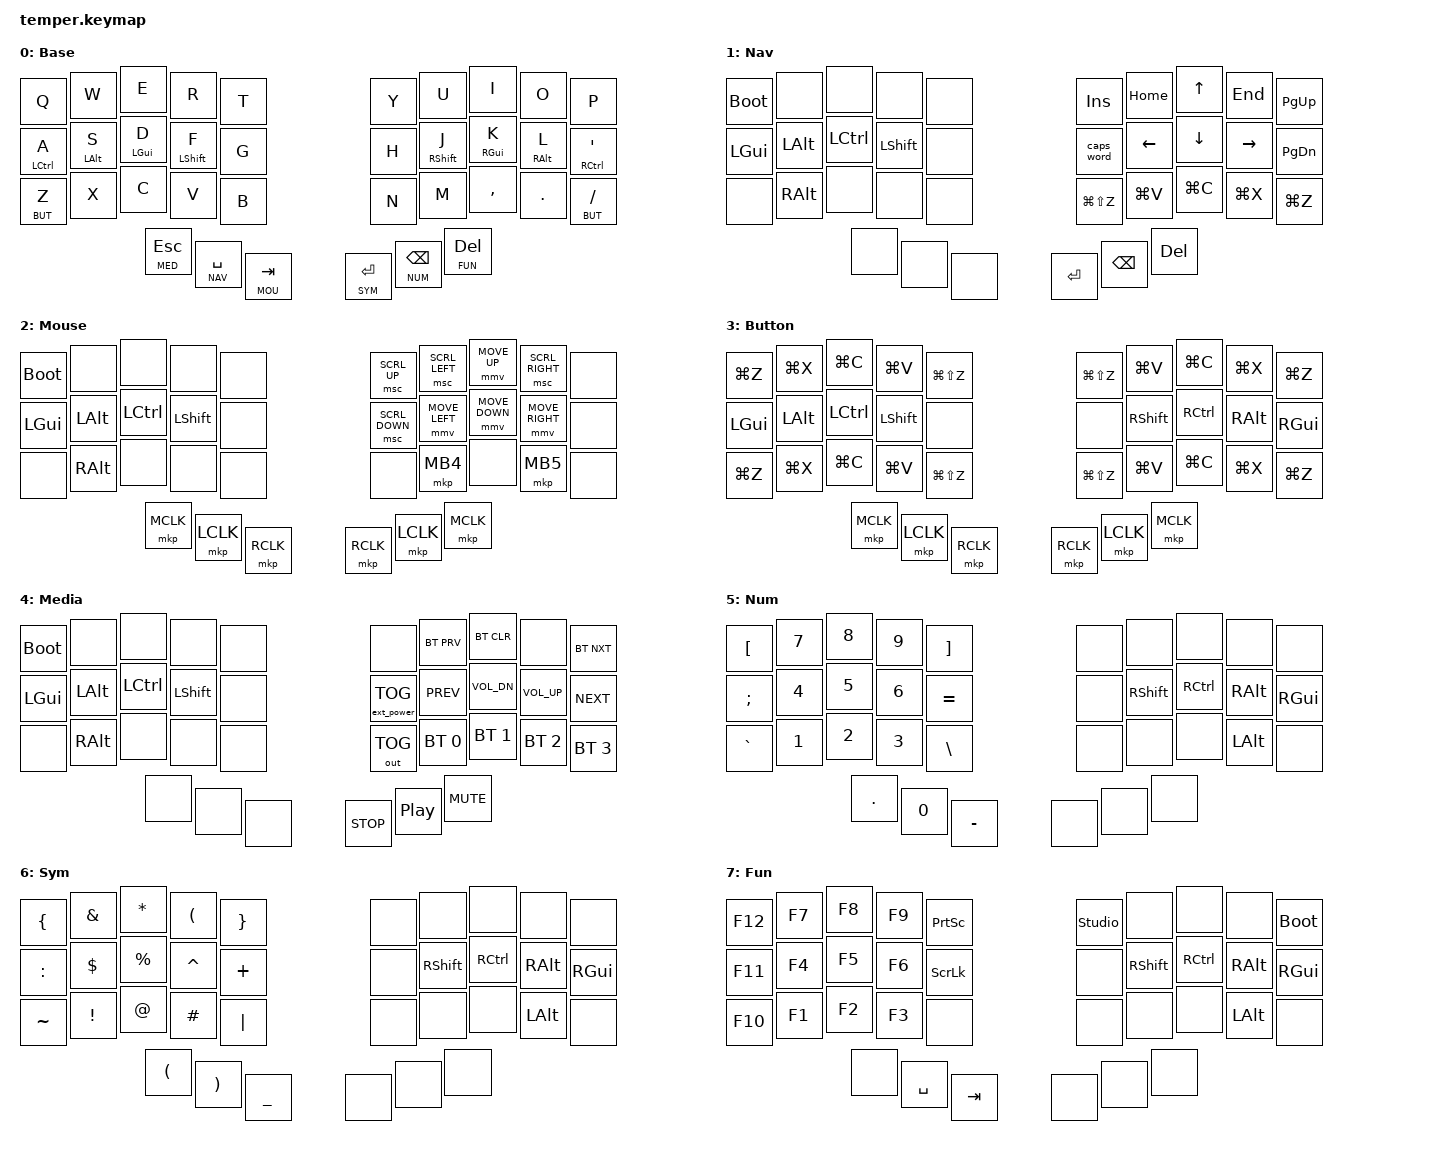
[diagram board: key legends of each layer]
/*
 * Copyright (c) 2020 The ZMK Contributors
 *
 * SPDX-License-Identifier: MIT
 */


#include <behaviors.dtsi>
#include <dt-bindings/zmk/keys.h>
#include <dt-bindings/zmk/bt.h>
#include <dt-bindings/zmk/ext_power.h>
#include <dt-bindings/zmk/outputs.h>
#include <dt-bindings/zmk/pointing.h>

#include "zmk-helpers/helper.h"
#include "zmk-helpers/key-labels/36.h"

#define QUICK_TAP_MS 175

#define BAS 0
#define NAV 1
#define MOU 2
#define BUT 3
#define MED 4
#define NUM 5
#define SYM 6
#define FUN 7

#define Z_BUT   &lt BUT Z
#define SLS_BUT &lt BUT SLASH

#define ESC_MED &lt MED ESC
#define SPA_NAV &lt NAV SPACE
#define TAB_MOU &lt MOU TAB
#define RET_SYM &lt SYM RET
#define BSC_NUM &lt NUM BSPC
#define DEL_FUN &lt FUN DEL

#define _COPY  &kp LG(C)
#define _PASTE &kp LG(V)
#define _CUT   &kp LG(X)
#define _UNDO  &kp LG(Z)
#define _REDO  &kp LG(LS(Z))

#define KEYS_L LT0 LT1 LT2 LT3 LT4 LM0 LM1 LM2 LM3 LM4 LB0 LB1 LB2 LB3 LB4
#define KEYS_R RT0 RT1 RT2 RT3 RT4 RM0 RM1 RM2 RM3 RM4 RB0 RB1 RB2 RB3 RB4
#undef THUMBS
#define THUMBS LH2 LH1 LH0 RH0 RH1 RH2


#define HRM_A &hml LEFT_CONTROL A
#define HRM_S &hml LEFT_ALT S
#define HRM_D &hml LEFT_GUI D
#define HRM_F &hml LEFT_SHIFT F

#define HRM_J &hmr RIGHT_SHIFT J
#define HRM_K &hmr RIGHT_GUI K
#define HRM_L &hmr RIGHT_ALT L
#define HRM_SQT &hmr RIGHT_CONTROL SQT

&lt {
  flavor = "balanced";
  tapping-term-ms = <200>;
  quick-tap-ms = <QUICK_TAP_MS>;
};

/ {
        behaviors {
                hml: home_row_mod_left {
                        compatible = "zmk,behavior-hold-tap";
                        #binding-cells = <2>;
                        flavor = "balanced";
                        require-prior-idle-ms = <150>;
                        tapping-term-ms = <280>;
                        quick-tap-ms = <175>;
                        bindings = <&kp>, <&kp>;
                        hold-trigger-key-positions = <KEYS_R THUMBS>; // List of keys on the right side of the keyboard
                        hold-trigger-on-release;
                };
                hmr: home_row_mod_right {
                        compatible = "zmk,behavior-hold-tap";
                        #binding-cells = <2>;
                        flavor = "balanced";
                        require-prior-idle-ms = <150>;
                        tapping-term-ms = <280>;
                        quick-tap-ms = <175>;
                        bindings = <&kp>, <&kp>;
                        hold-trigger-key-positions = <KEYS_L THUMBS>; // List of keys on the left side of the keyboard
                        hold-trigger-on-release;
                };
        };
        keymap {
                compatible = "zmk,keymap";

                base_layer {
                        display-name = "Base";
                        bindings = <
// ╭─────────────┬─────────────┬─────────────┬─────────────┬─────────────╮   ╭─────────────┬─────────────┬─────────────┬─────────────┬─────────────╮
        &kp Q         &kp W         &kp E         &kp R         &kp T             &kp Y         &kp U         &kp I         &kp O       &kp P   
// ├─────────────┼─────────────┼─────────────┼─────────────┼─────────────┤   ├─────────────┼─────────────┼─────────────┼─────────────┼─────────────┤
        HRM_A         HRM_S         HRM_D         HRM_F         &kp G             &kp H         HRM_J         HRM_K         HRM_L       HRM_SQT
// ├─────────────┼─────────────┼─────────────┼─────────────┼─────────────┤   ├─────────────┼─────────────┼─────────────┼─────────────┼─────────────┤
        Z_BUT         &kp X         &kp C         &kp V         &kp B             &kp N         &kp M       &kp COMMA    &kp PERIOD     SLS_BUT
// ╰─────────────┴─────────────┼─────────────┼─────────────┼─────────────┤   ├─────────────┼─────────────┼─────────────┼─────────────┴─────────────╯
                                   ESC_MED       SPA_NAV       TAB_MOU            RET_SYM      BSC_NUM       DEL_FUN
//                             ╰─────────────┴─────────────┴─────────────╯   ╰─────────────┴─────────────┴─────────────╯
                        >;
                };
                nav_layer {
                        display-name = "Nav";
                        bindings = <
// ╭─────────────┬─────────────┬─────────────┬─────────────┬─────────────╮   ╭─────────────┬─────────────┬─────────────┬─────────────┬─────────────╮
     &bootloader      &none         &none         &none         &none             &kp INS      &kp HOME       &kp UP       &kp END      &kp PG_UP   
// ├─────────────┼─────────────┼─────────────┼─────────────┼─────────────┤   ├─────────────┼─────────────┼─────────────┼─────────────┼─────────────┤
        &kp LGUI     &kp LALT     &kp LCTRL     &kp LSHFT       &none           &caps_word     &kp LEFT      &kp DOWN     &kp RIGHT     &kp PG_DN 
// ├─────────────┼─────────────┼─────────────┼─────────────┼─────────────┤   ├─────────────┼─────────────┼─────────────┼─────────────┼─────────────┤
        &none        &kp RALT       &none         &none         &none             _REDO        _PASTE         _COPY         _CUT          _UNDO 
// ╰─────────────┴─────────────┼─────────────┼─────────────┼─────────────┤   ├─────────────┼─────────────┼─────────────┼─────────────┴─────────────╯
                                    &none         &none         &none             &kp RET     &kp BSPC       &kp DEL 
//                             ╰─────────────┴─────────────┴─────────────╯   ╰─────────────┴─────────────┴─────────────╯
                        >;
                };
                mouse_layer {
                        display-name = "Mouse";
                        bindings = <
// ╭─────────────┬─────────────┬─────────────┬─────────────┬─────────────╮   ╭─────────────┬─────────────┬─────────────┬─────────────┬─────────────╮
     &bootloader      &none         &none         &none         &none          &msc SCRL_UP &msc SCRL_LEFT &mmv MOVE_UP &msc SCRL_RIGHT   &none 
// ├─────────────┼─────────────┼─────────────┼─────────────┼─────────────┤   ├─────────────┼─────────────┼─────────────┼─────────────┼─────────────┤
        &kp LGUI     &kp LALT     &kp LCTRL     &kp LSHFT       &none        &msc SCRL_DOWN &mmv MOVE_LEFT &mmv MOVE_DOWN &mmv MOVE_RIGHT &none 
// ├─────────────┼─────────────┼─────────────┼─────────────┼─────────────┤   ├─────────────┼─────────────┼─────────────┼─────────────┼─────────────┤
        &none        &kp RALT       &none         &none         &none             &none       &mkp MB4        &none       &mkp MB5         &none
// ╰─────────────┴─────────────┼─────────────┼─────────────┼─────────────┤   ├─────────────┼─────────────┼─────────────┼─────────────┴─────────────╯
                                  &mkp MCLK     &mkp LCLK     &mkp RCLK         &mkp RCLK     &mkp LCLK     &mkp MCLK
//                             ╰─────────────┴─────────────┴─────────────╯   ╰─────────────┴─────────────┴─────────────╯
                        >;
                };
                button_layer {
                        display-name = "Button";
                        bindings = <
// ╭─────────────┬─────────────┬─────────────┬─────────────┬─────────────╮   ╭─────────────┬─────────────┬─────────────┬─────────────┬─────────────╮
        _UNDO         _CUT          _COPY        _PASTE         _REDO             _REDO        _PASTE         _COPY          _CUT         _UNDO
// ├─────────────┼─────────────┼─────────────┼─────────────┼─────────────┤   ├─────────────┼─────────────┼─────────────┼─────────────┼─────────────┤
        &kp LGUI     &kp LALT     &kp LCTRL     &kp LSHFT       &none             &none       &kp RSHFT     &kp RCTRL      &kp RALT      &kp RGUI 
// ├─────────────┼─────────────┼─────────────┼─────────────┼─────────────┤   ├─────────────┼─────────────┼─────────────┼─────────────┼─────────────┤
        _UNDO         _CUT          _COPY        _PASTE         _REDO             _REDO        _PASTE         _COPY          _CUT         _UNDO 
// ╰─────────────┴─────────────┼─────────────┼─────────────┼─────────────┤   ├─────────────┼─────────────┼─────────────┼─────────────┴─────────────╯
                                  &mkp MCLK     &mkp LCLK     &mkp RCLK         &mkp RCLK     &mkp LCLK     &mkp MCLK
//                             ╰─────────────┴─────────────┴─────────────╯   ╰─────────────┴─────────────┴─────────────╯
                        >;
                };
                media_layer {
                        display-name = "Media";
                        bindings = <
// ╭─────────────┬─────────────┬─────────────┬─────────────┬─────────────╮   ╭─────────────┬─────────────┬─────────────┬─────────────┬─────────────╮
     &bootloader      &none         &none         &none         &none             &none       &bt BT_PRV    &bt BT_CLR      &none       &bt BT_NXT
// ├─────────────┼─────────────┼─────────────┼─────────────┼─────────────┤   ├─────────────┼─────────────┼─────────────┼─────────────┼─────────────┤
        &kp LGUI     &kp LALT     &kp LCTRL     &kp LSHFT       &none      &ext_power EP_TOG  &kp C_PREV    &kp C_VOL_DN  &kp C_VOL_UP  &kp C_NEXT
// ├─────────────┼─────────────┼─────────────┼─────────────┼─────────────┤   ├─────────────┼─────────────┼─────────────┼─────────────┼─────────────┤
        &none        &kp RALT       &none         &none         &none         &out OUT_TOG   &bt BT_SEL 0  &bt BT_SEL 1  &bt BT_SEL 2  &bt BT_SEL 3
// ╰─────────────┴─────────────┼─────────────┼─────────────┼─────────────┤   ├─────────────┼─────────────┼─────────────┼─────────────┴─────────────╯
                                    &none         &none         &none           &kp C_STOP     &kp C_PP     &kp C_MUTE
//                             ╰─────────────┴─────────────┴─────────────╯   ╰─────────────┴─────────────┴─────────────╯
                        >;
                };
                num_layer {
                        display-name = "Num";
                        bindings = <
// ╭─────────────┬─────────────┬─────────────┬─────────────┬─────────────╮   ╭─────────────┬─────────────┬─────────────┬─────────────┬─────────────╮
       &kp LBKT       &kp N7       &kp N8        &kp N9       &kp RBKT            &none         &none         &none         &none         &none   
// ├─────────────┼─────────────┼─────────────┼─────────────┼─────────────┤   ├─────────────┼─────────────┼─────────────┼─────────────┼─────────────┤
       &kp SEMI       &kp N4       &kp N5        &kp N6       &kp EQUAL           &none       &kp RSHFT     &kp RCTRL      &kp RALT      &kp RGUI 
// ├─────────────┼─────────────┼─────────────┼─────────────┼─────────────┤   ├─────────────┼─────────────┼─────────────┼─────────────┼─────────────┤
      &kp GRAVE       &kp N1       &kp N2        &kp N3       &kp BSLH            &none         &none         &none        &kp LALT       &none 
// ╰─────────────┴─────────────┼─────────────┼─────────────┼─────────────┤   ├─────────────┼─────────────┼─────────────┼─────────────┴─────────────╯
                                   &kp DOT       &kp N0       &kp MINUS           &none         &none         &none 
//                             ╰─────────────┴─────────────┴─────────────╯   ╰─────────────┴─────────────┴─────────────╯
                        >;
                };
                sym_layer {
                        display-name = "Sym";
                        bindings = <
// ╭─────────────┬─────────────┬─────────────┬─────────────┬─────────────╮   ╭─────────────┬─────────────┬─────────────┬─────────────┬─────────────╮
        &kp LBRC     &kp AMPS     &kp STAR      &kp LPAR      &kp RBRC            &none         &none         &none         &none         &none   
// ├─────────────┼─────────────┼─────────────┼─────────────┼─────────────┤   ├─────────────┼─────────────┼─────────────┼─────────────┼─────────────┤
        &kp COLON    &kp DLLR     &kp PRCNT     &kp CARET     &kp PLUS            &none       &kp RSHFT     &kp RCTRL      &kp RALT      &kp RGUI 
// ├─────────────┼─────────────┼─────────────┼─────────────┼─────────────┤   ├─────────────┼─────────────┼─────────────┼─────────────┼─────────────┤
        &kp TILDE    &kp EXCL     &kp AT        &kp POUND     &kp PIPE            &none         &none         &none        &kp LALT       &none 
// ╰─────────────┴─────────────┼─────────────┼─────────────┼─────────────┤   ├─────────────┼─────────────┼─────────────┼─────────────┴─────────────╯
                                  &kp LPAR      &kp RPAR      &kp UNDER           &none         &none         &none 
//                             ╰─────────────┴─────────────┴─────────────╯   ╰─────────────┴─────────────┴─────────────╯
                        >;
                };
                fun_layer {
                        display-name = "Fun";
                        bindings = <
// ╭─────────────┬─────────────┬─────────────┬─────────────┬─────────────╮   ╭─────────────┬─────────────┬─────────────┬─────────────┬─────────────╮
        &kp F12      &kp F7        &kp F8        &kp F9       &kp PSCRN       &studio_unlock    &none         &none         &none      &bootloader
// ├─────────────┼─────────────┼─────────────┼─────────────┼─────────────┤   ├─────────────┼─────────────┼─────────────┼─────────────┼─────────────┤
        &kp F11      &kp F4        &kp F5        &kp F6       &kp SLCK            &none       &kp RSHFT     &kp RCTRL      &kp RALT      &kp RGUI 
// ├─────────────┼─────────────┼─────────────┼─────────────┼─────────────┤   ├─────────────┼─────────────┼─────────────┼─────────────┼─────────────┤
        &kp F10      &kp F1        &kp F2        &kp F3         &none             &none         &none         &none        &kp LALT       &none 
// ╰─────────────┴─────────────┼─────────────┼─────────────┼─────────────┤   ├─────────────┼─────────────┼─────────────┼─────────────┴─────────────╯
                                    &none       &kp SPACE      &kp TAB            &none         &none         &none 
//                             ╰─────────────┴─────────────┴─────────────╯   ╰─────────────┴─────────────┴─────────────╯
                        >;
                };
        };
        combos {
                compatible = "zmk,combos";
                combo_esc_med {
                        timeout-ms = <50>;
                        key-positions = <LH0 LH1>;
                        bindings = <ESC_MED>;
                        layers = <BAS>;
                };
                combo_del_fun {
                        timeout-ms = <50>;
                        key-positions = <RH0 RH1>;
                        bindings = <DEL_FUN>;
                        layers = <BAS>;
                };
                combo_del {
                        timeout-ms = <50>;
                        key-positions = <RH0 RH1>;
                        bindings = <&kp DEL>;
                        layers = <NAV>;
                };
                combo_left_mclk {
                        timeout-ms = <50>;
                        key-positions = <LH0 LH1>;
                        bindings = <&mkp MCLK>;
                        layers = <BUT>;
                };
                combo_right_mclk {
                        timeout-ms = <50>;
                        key-positions = <RH0 RH1>;
                        bindings = <&mkp MCLK>;
                        layers = <MOU BUT>;
                };
                combo_mute {
                        timeout-ms = <50>;
                        key-positions = <RH0 RH1>;
                        bindings = <&kp C_MUTE>;
                        layers = <MED>;
                };
                combo_dot {
                        timeout-ms = <50>;
                        key-positions = <LH0 LH1>;
                        bindings = <&kp DOT>;
                        layers = <NUM>;
                };
                combo_lpar {
                        timeout-ms = <50>;
                        key-positions = <LH0 LH1>;
                        bindings = <&kp LPAR>;
                        layers = <SYM>;
                };
        };
};
